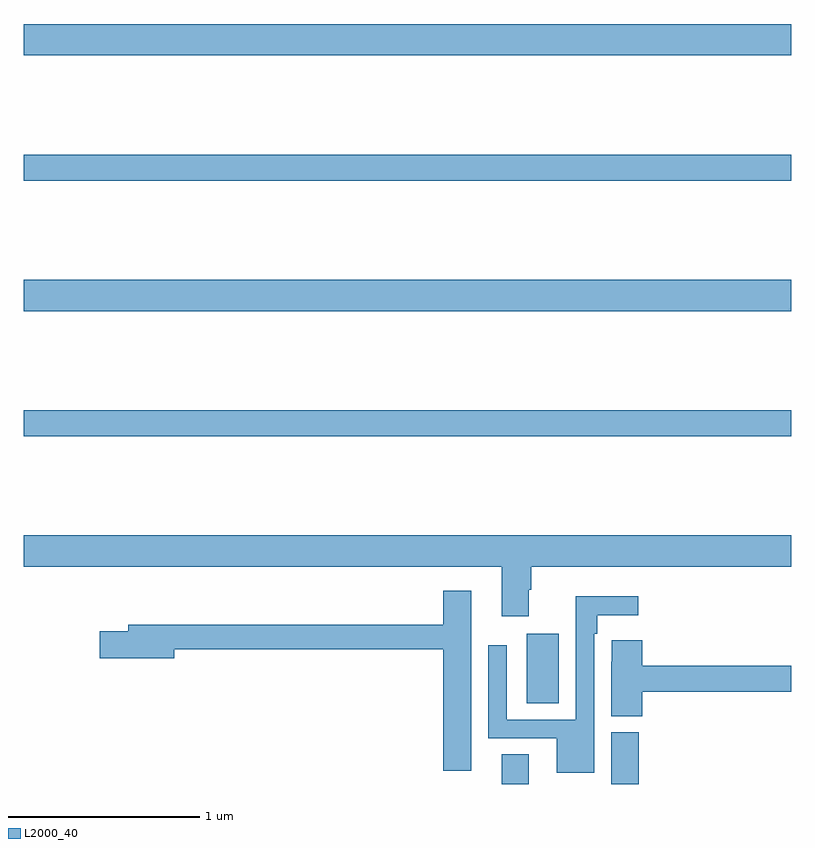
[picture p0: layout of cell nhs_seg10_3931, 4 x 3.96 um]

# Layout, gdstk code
import gdstk
lib = gdstk.Library(unit=1e-6, precision=1e-09)
def R(c, l, rs):  # rectangles x0, y0, x1, y1
    for r in rs: c.add(gdstk.rectangle(r[:2], r[2:], *l))
def P(c, l, *ps):  # polygons
    for p in ps: c.add(gdstk.Polygon(p, *l))
L2000_40 = (2000, 40)

nhs_seg10_3931 = lib.new_cell('nhs_seg10_3931')
R(nhs_seg10_3931, L2000_40, [(329.492,1316.5,329.632,1316.654), (330.062,1316.5,330.206,1316.769), (329.621,1316.92,329.788,1317.283), (327,1318.312,331,1318.448), (327,1318.964,331,1319.128), (327,1319.644,331,1319.78), (327,1320.296,331,1320.46)])
P(nhs_seg10_3931, L2000_40, [(329.632,1317.512),(329.645,1317.512),(329.645,1317.632),(331,1317.632),(331,1317.796),(327,1317.796),(327,1317.632),(329.492,1317.632),(329.492,1317.375),(329.632,1317.375)],
  [(329.332,1317.508),(329.186,1317.508),(329.186,1317.331),(327.545,1317.331),(327.545,1317.297),(327.396,1317.297),(327.396,1317.155),(327.784,1317.155),(327.784,1317.202),(329.186,1317.202),(329.186,1316.568),(329.332,1316.568)],
  [(329.973,1317.284),(329.989,1317.284),(329.989,1317.38),(330.202,1317.38),(330.202,1317.478),(329.877,1317.478),(329.877,1316.835),(329.517,1316.835),(329.517,1317.223),(329.421,1317.223),(329.421,1316.739),(329.777,1316.739),(329.777,1316.558),(329.973,1316.558)],
  [(330.224,1316.98),(331,1316.98),(331,1317.116),(330.224,1317.116),(330.224,1317.25),(330.063,1317.25),(330.063,1317.137),(330.062,1317.137),(330.062,1316.854),(330.224,1316.854)])

lib.write_gds('nhs_seg10_3931.gds')
